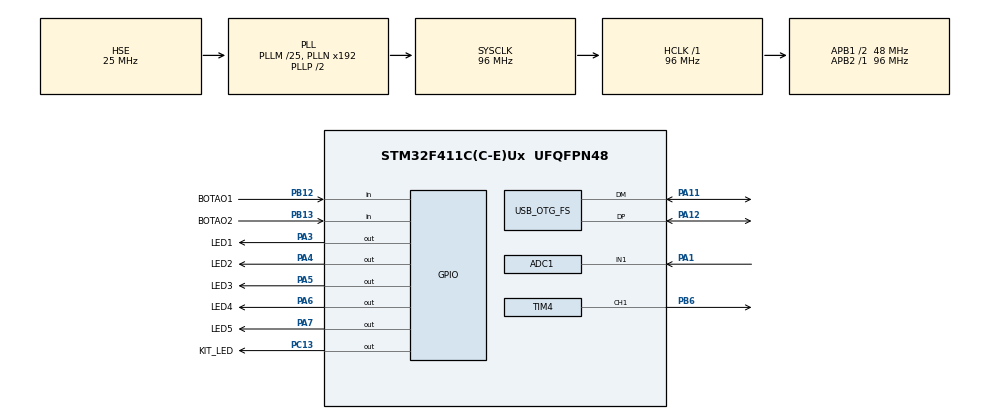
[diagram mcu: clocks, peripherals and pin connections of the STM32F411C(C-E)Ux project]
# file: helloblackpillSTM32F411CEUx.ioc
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ADC1.Channel-1\#ChannelRegularConversion=ADC_CHANNEL_1
ADC1.NbrOfConversionFlag=1
ADC1.Rank-1\#ChannelRegularConversion=1
ADC1.SamplingTime-1\#ChannelRegularConversion=ADC_SAMPLETIME_3CYCLES
ADC1.master=1
Mcu.Family=STM32F4
Mcu.Name=STM32F411C(C-E)Ux
Mcu.Package=UFQFPN48
NVIC.OTG_FS_IRQn=true\:0\:0\:false\:false\:true\:false\:true\:true
NVIC.PriorityGroup=NVIC_PRIORITYGROUP_4
NVIC.TIM3_IRQn=true\:0\:0\:false\:false\:true\:true\:true\:true
NVIC.TIM4_IRQn=true\:0\:0\:false\:false\:true\:true\:true\:true
PA1.Signal=ADCx_IN1
PA11.Mode=Device_Only
PA11.Signal=USB_OTG_FS_DM
PA12.Mode=Device_Only
PA12.Signal=USB_OTG_FS_DP
PA13.Mode=Serial_Wire
PA13.Signal=SYS_JTMS-SWDIO
PA14.Mode=Serial_Wire
PA14.Signal=SYS_JTCK-SWCLK
PA3.GPIO_Label=LED1
PA3.Signal=GPIO_Output
PA4.GPIO_Label=LED2
PA4.Signal=GPIO_Output
PA5.GPIO_Label=LED3
PA5.Signal=GPIO_Output
PA6.GPIO_Label=LED4
PA6.Signal=GPIO_Output
PA7.GPIO_Label=LED5
PA7.Signal=GPIO_Output
PB12.GPIO_Label=BOTAO1
PB12.Signal=GPIO_Input
PB13.GPIO_Label=BOTAO2
PB13.Signal=GPIO_Input
PB6.Signal=S_TIM4_CH1
PC13-ANTI_TAMP.GPIO_Label=KIT_LED
PC13-ANTI_TAMP.Signal=GPIO_Output
PC14-OSC32_IN.Mode=LSE-External-Oscillator
PC14-OSC32_IN.Signal=RCC_OSC32_IN
PC15-OSC32_OUT.Mode=LSE-External-Oscillator
PC15-OSC32_OUT.Signal=RCC_OSC32_OUT
PH0\ -\ OSC_IN.Mode=HSE-External-Oscillator
PH0\ -\ OSC_IN.Signal=RCC_OSC_IN
PH1\ -\ OSC_OUT.Mode=HSE-External-Oscillator
PH1\ -\ OSC_OUT.Signal=RCC_OSC_OUT
ProjectManager.HeapSize=0x200
ProjectManager.StackSize=0x400
ProjectManager.TargetToolchain=Makefile
RCC.48MHZClocksFreq_Value=48000000
RCC.AHBFreq_Value=96000000
RCC.APB1CLKDivider=RCC_HCLK_DIV2
RCC.APB1Freq_Value=48000000
RCC.APB1TimFreq_Value=96000000
RCC.APB2Freq_Value=96000000
RCC.APB2TimFreq_Value=96000000
RCC.CortexFreq_Value=96000000
RCC.HCLKFreq_Value=96000000
RCC.HSE_VALUE=25000000
RCC.HSI_VALUE=16000000
RCC.PLLM=25
RCC.PLLSourceVirtual=RCC_PLLSOURCE_HSE
RCC.SYSCLKFreq_VALUE=96000000
RCC.SYSCLKSource=RCC_SYSCLKSOURCE_PLLCLK
RCC.VCOOutputFreq_Value=192000000
SH.ADCx_IN1.0=ADC1_IN1,IN1
SH.S_TIM4_CH1.0=TIM4_CH1,PWM Generation1 CH1
TIM3.Period=480
TIM3.Prescaler=10000-1
TIM4.Channel-PWM\ Generation1\ CH1=TIM_CHANNEL_1
TIM4.Period=10
TIM4.Prescaler=1200-1
USB_DEVICE.CLASS_NAME_FS=CDC
USB_DEVICE.VirtualMode=Cdc
USB_DEVICE.VirtualModeFS=Cdc_FS
USB_OTG_FS.VirtualMode=Device_Only
VP_TIM3_VS_ClockSourceINT.Mode=Internal
VP_TIM4_VS_ClockSourceINT.Mode=Internal
VP_USB_DEVICE_VS_USB_DEVICE_CDC_FS.Mode=CDC_FS
board=custom

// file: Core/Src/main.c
/* USER CODE BEGIN Header */
/**
 ******************************************************************************
 * @file           : main.c
 * @brief          : Main program body
 ******************************************************************************
 * @attention
 *
 * Copyright (c) 2022 STMicroelectronics.
 * All rights reserved.
 *
 * This software is licensed under terms that can be found in the LICENSE file
 * in the root directory of this software component.
 * If no LICENSE file comes with this software, it is provided AS-IS.
 *
 ******************************************************************************
 */
/* USER CODE END Header */
#include "main.h"
#include "usb_device.h"

/* USER CODE BEGIN Includes */
#include "button.h"
#include "usbd_cdc_if.h"
/* USER CODE END Includes */

ADC_HandleTypeDef hadc1;

TIM_HandleTypeDef htim3;
TIM_HandleTypeDef htim4;

/* USER CODE BEGIN PV */
uint16_t read;  //variável para leitura do ADC no TIM3 Interrupt
uint16_t read_original;
uint8_t buffer[255];
uint8_t gUSBRxBuffer[255];
int DC = 0;
/* USER CODE END PV */

void SystemClock_Config(void);
static void MX_GPIO_Init(void);
static void MX_TIM4_Init(void);
static void MX_TIM3_Init(void);
static void MX_ADC1_Init(void);

int main(void)
{

  /* MCU Configuration--------------------------------------------------------*/

  /* Reset of all peripherals, Initializes the Flash interface and the Systick. */
   HAL_Init();

  /* Configure the system clock */
  SystemClock_Config();

  /* Initialize all configured peripherals */
  MX_GPIO_Init();
  MX_TIM4_Init();
  MX_TIM3_Init();
  MX_ADC1_Init();
  MX_USB_DEVICE_Init();
  /* USER CODE BEGIN 2 */
  HAL_TIM_Base_Start_IT(&htim3);
  HAL_TIM_PWM_Start(&htim4, TIM_CHANNEL_1);
  /* USER CODE END 2 */

  /* Infinite loop */
  /* USER CODE BEGIN WHILE */

    while (1)
  {
      if(gUSBRxBuffer[0]!=0)
      {
        switch(gUSBRxBuffer[0])
        {
          case 80:    //"P" maiúsculo
          case 37:    //"%"
          {
            sprintf(buffer, "O percentual do fundo de escala do A/D eh de %d.%03d%%, representando uma tensao de %d mV\r\n", (int)(read_original*100/4095),  (int)((read_original * 100.0 / 4095 - (int)(read_original * 100.0 / 4095)) * 1000), read_original*3300/4095);
            CDC_Transmit_FS(buffer, strlen(buffer));
            gUSBRxBuffer[0]=0;
            break;
          }
          case 115:     //"s" minúsculo
          {
           if(DC <= 1000-63)
           {
            htim4.Instance->CCR1 = DC+63;
            DC = DC+63;
           }
           sprintf(buffer, "O duty cycle atual do PWM eh %d.%03d\r\n", DC/1000, DC % 1000);
           CDC_Transmit_FS(buffer, strlen(buffer));
           gUSBRxBuffer[0]=0;
           break;
          }
          case 100:     //"d" minúsculo
          {
            if(DC >= 63)
            {
            htim4.Instance->CCR1 = DC-63;
            DC = DC-63;
            }

            sprintf(buffer, "O duty cycle atual do PWM eh %d.%03d\r\n", DC/1000, DC % 1000);
            CDC_Transmit_FS(buffer, strlen(buffer));
            gUSBRxBuffer[0]=0;
            break;
          }
          default:
          {
            sprintf(buffer, "Nao reconheci o comando\r\n");
            CDC_Transmit_FS(buffer, strlen(buffer));
            gUSBRxBuffer[0]=0;
            break;
          }
        }
      }
  }

    /* USER CODE END WHILE */

}

void SystemClock_Config(void)
{
  RCC_OscInitTypeDef RCC_OscInitStruct = {0};
  RCC_ClkInitTypeDef RCC_ClkInitStruct = {0};

  /** Configure the main internal regulator output voltage
  */
  __HAL_RCC_PWR_CLK_ENABLE();
  __HAL_PWR_VOLTAGESCALING_CONFIG(PWR_REGULATOR_VOLTAGE_SCALE1);

  /** Initializes the RCC Oscillators according to the specified parameters
  * in the RCC_OscInitTypeDef structure.
  */
  RCC_OscInitStruct.OscillatorType = RCC_OSCILLATORTYPE_HSE;
  RCC_OscInitStruct.HSEState = RCC_HSE_ON;
  RCC_OscInitStruct.PLL.PLLState = RCC_PLL_ON;
  RCC_OscInitStruct.PLL.PLLSource = RCC_PLLSOURCE_HSE;
  RCC_OscInitStruct.PLL.PLLM = 25;
  RCC_OscInitStruct.PLL.PLLN = 192;
  RCC_OscInitStruct.PLL.PLLP = RCC_PLLP_DIV2;
  RCC_OscInitStruct.PLL.PLLQ = 4;
  if (HAL_RCC_OscConfig(&RCC_OscInitStruct) != HAL_OK)
  {
    Error_Handler();
  }

  /** Initializes the CPU, AHB and APB buses clocks
  */
  RCC_ClkInitStruct.ClockType = RCC_CLOCKTYPE_HCLK|RCC_CLOCKTYPE_SYSCLK
                              |RCC_CLOCKTYPE_PCLK1|RCC_CLOCKTYPE_PCLK2;
  RCC_ClkInitStruct.SYSCLKSource = RCC_SYSCLKSOURCE_PLLCLK;
  RCC_ClkInitStruct.AHBCLKDivider = RCC_SYSCLK_DIV1;
  RCC_ClkInitStruct.APB1CLKDivider = RCC_HCLK_DIV2;
  RCC_ClkInitStruct.APB2CLKDivider = RCC_HCLK_DIV1;

  if (HAL_RCC_ClockConfig(&RCC_ClkInitStruct, FLASH_LATENCY_3) != HAL_OK)
  {
    Error_Handler();
  }
}

static void MX_ADC1_Init(void)
{

  ADC_ChannelConfTypeDef sConfig = {0};

  /** Configure the global features of the ADC (Clock, Resolution, Data Alignment and number of conversion)
  */
  hadc1.Instance = ADC1;
  hadc1.Init.ClockPrescaler = ADC_CLOCK_SYNC_PCLK_DIV4;
  hadc1.Init.Resolution = ADC_RESOLUTION_12B;
  hadc1.Init.ScanConvMode = DISABLE;
  hadc1.Init.ContinuousConvMode = DISABLE;
  hadc1.Init.DiscontinuousConvMode = DISABLE;
  hadc1.Init.ExternalTrigConvEdge = ADC_EXTERNALTRIGCONVEDGE_NONE;
  hadc1.Init.ExternalTrigConv = ADC_SOFTWARE_START;
  hadc1.Init.DataAlign = ADC_DATAALIGN_RIGHT;
  hadc1.Init.NbrOfConversion = 1;
  hadc1.Init.DMAContinuousRequests = DISABLE;
  hadc1.Init.EOCSelection = ADC_EOC_SINGLE_CONV;
  if (HAL_ADC_Init(&hadc1) != HAL_OK)
  {
    Error_Handler();
  }

  /** Configure for the selected ADC regular channel its corresponding rank in the sequencer and its sample time.
  */
  sConfig.Channel = ADC_CHANNEL_1;
  sConfig.Rank = 1;
  sConfig.SamplingTime = ADC_SAMPLETIME_3CYCLES;
  if (HAL_ADC_ConfigChannel(&hadc1, &sConfig) != HAL_OK)
  {
    Error_Handler();
  }

}

static void MX_TIM3_Init(void)
{

  TIM_ClockConfigTypeDef sClockSourceConfig = {0};
  TIM_MasterConfigTypeDef sMasterConfig = {0};

  htim3.Instance = TIM3;
  htim3.Init.Prescaler = 10000-1;
  htim3.Init.CounterMode = TIM_COUNTERMODE_UP;
  htim3.Init.Period = 480;
  htim3.Init.ClockDivision = TIM_CLOCKDIVISION_DIV1;
  htim3.Init.AutoReloadPreload = TIM_AUTORELOAD_PRELOAD_DISABLE;
  if (HAL_TIM_Base_Init(&htim3) != HAL_OK)
  {
    Error_Handler();
  }
  sClockSourceConfig.ClockSource = TIM_CLOCKSOURCE_INTERNAL;
  if (HAL_TIM_ConfigClockSource(&htim3, &sClockSourceConfig) != HAL_OK)
  {
    Error_Handler();
  }
  sMasterConfig.MasterOutputTrigger = TIM_TRGO_RESET;
  sMasterConfig.MasterSlaveMode = TIM_MASTERSLAVEMODE_DISABLE;
  if (HAL_TIMEx_MasterConfigSynchronization(&htim3, &sMasterConfig) != HAL_OK)
  {
    Error_Handler();
  }

}

static void MX_TIM4_Init(void)
{

  TIM_ClockConfigTypeDef sClockSourceConfig = {0};
  TIM_MasterConfigTypeDef sMasterConfig = {0};
  TIM_OC_InitTypeDef sConfigOC = {0};

  htim4.Instance = TIM4;
  htim4.Init.Prescaler = 12-1;
  htim4.Init.CounterMode = TIM_COUNTERMODE_UP;
  htim4.Init.Period = 1000;
  htim4.Init.ClockDivision = TIM_CLOCKDIVISION_DIV1;
  htim4.Init.AutoReloadPreload = TIM_AUTORELOAD_PRELOAD_DISABLE;
  if (HAL_TIM_Base_Init(&htim4) != HAL_OK)
  {
    Error_Handler();
  }
  sClockSourceConfig.ClockSource = TIM_CLOCKSOURCE_INTERNAL;
  if (HAL_TIM_ConfigClockSource(&htim4, &sClockSourceConfig) != HAL_OK)
  {
    Error_Handler();
  }
  if (HAL_TIM_PWM_Init(&htim4) != HAL_OK)
  {
    Error_Handler();
  }
  sMasterConfig.MasterOutputTrigger = TIM_TRGO_RESET;
  sMasterConfig.MasterSlaveMode = TIM_MASTERSLAVEMODE_DISABLE;
  if (HAL_TIMEx_MasterConfigSynchronization(&htim4, &sMasterConfig) != HAL_OK)
  {
    Error_Handler();
  }
  sConfigOC.OCMode = TIM_OCMODE_PWM1;
  sConfigOC.Pulse = 0;
  sConfigOC.OCPolarity = TIM_OCPOLARITY_HIGH;
  sConfigOC.OCFastMode = TIM_OCFAST_DISABLE;
  if (HAL_TIM_PWM_ConfigChannel(&htim4, &sConfigOC, TIM_CHANNEL_1) != HAL_OK)
  {
    Error_Handler();
  }
  HAL_TIM_MspPostInit(&htim4);

}

static void MX_GPIO_Init(void)
{
  GPIO_InitTypeDef GPIO_InitStruct = {0};

  /* GPIO Ports Clock Enable */
  __HAL_RCC_GPIOC_CLK_ENABLE();
  __HAL_RCC_GPIOH_CLK_ENABLE();
  __HAL_RCC_GPIOA_CLK_ENABLE();
  __HAL_RCC_GPIOB_CLK_ENABLE();

  /*Configure GPIO pin Output Level */
  HAL_GPIO_WritePin(KIT_LED_GPIO_Port, KIT_LED_Pin, GPIO_PIN_RESET);

  /*Configure GPIO pin Output Level */
  HAL_GPIO_WritePin(GPIOA, LED1_Pin|LED2_Pin|LED3_Pin|LED4_Pin
                          |LED5_Pin, GPIO_PIN_RESET);

  /*Configure GPIO pin : KIT_LED_Pin */
  GPIO_InitStruct.Pin = KIT_LED_Pin;
  GPIO_InitStruct.Mode = GPIO_MODE_OUTPUT_PP;
  GPIO_InitStruct.Pull = GPIO_NOPULL;
  GPIO_InitStruct.Speed = GPIO_SPEED_FREQ_LOW;
  HAL_GPIO_Init(KIT_LED_GPIO_Port, &GPIO_InitStruct);

  /*Configure GPIO pins : LED1_Pin LED2_Pin LED3_Pin LED4_Pin
                           LED5_Pin */
  GPIO_InitStruct.Pin = LED1_Pin|LED2_Pin|LED3_Pin|LED4_Pin
                          |LED5_Pin;
  GPIO_InitStruct.Mode = GPIO_MODE_OUTPUT_PP;
  GPIO_InitStruct.Pull = GPIO_NOPULL;
  GPIO_InitStruct.Speed = GPIO_SPEED_FREQ_LOW;
  HAL_GPIO_Init(GPIOA, &GPIO_InitStruct);

  /*Configure GPIO pins : BOTAO1_Pin BOTAO2_Pin */
  GPIO_InitStruct.Pin = BOTAO1_Pin|BOTAO2_Pin;
  GPIO_InitStruct.Mode = GPIO_MODE_INPUT;
  GPIO_InitStruct.Pull = GPIO_NOPULL;
  HAL_GPIO_Init(GPIOB, &GPIO_InitStruct);

}

/* USER CODE BEGIN 4 */
void HAL_TIM_PeriodElapsedCallback(TIM_HandleTypeDef *htim)
{
  if (htim->Instance == TIM3)
  {
      HAL_ADC_Start(&hadc1);
      HAL_ADC_PollForConversion(&hadc1, 100);
      read = HAL_ADC_GetValue(&hadc1); //Lê o valor do ADC
      read_original = read;

      //read = 2519-read; //inverte a razão de crescimento na porta do ADC
      read = read/500;
      read = 5-read;
      HAL_GPIO_WritePin(GPIOA, ~((1<<read)-1)<<3, GPIO_PIN_RESET);
      HAL_GPIO_WritePin(GPIOA, ((1<<read)-1)<<3, GPIO_PIN_SET);
  }
}
/* USER CODE END 4 */

void Error_Handler(void)
{
  __disable_irq();
  while (1)
  {
  }
}
